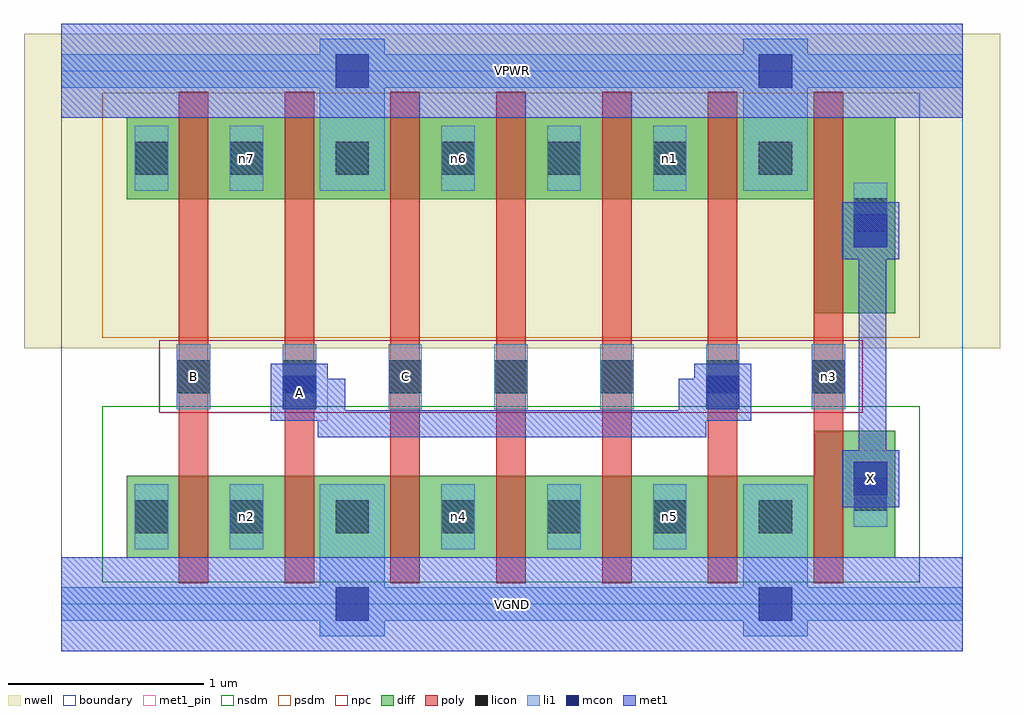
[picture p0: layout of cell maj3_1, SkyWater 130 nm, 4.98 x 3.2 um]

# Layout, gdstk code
import gdstk
lib = gdstk.Library(unit=1e-6, precision=1e-09)
def R(c, l, rs):  # rectangles x0, y0, x1, y1
    for r in rs: c.add(gdstk.rectangle(r[:2], r[2:], *l))
def A(c, l, x, y, w, h, nx, ny, dx, dy):  # array of equal rectangles
    R(c, l, [(x+i*dx, y+j*dy, x+i*dx+w, y+j*dy+h) for i in range(nx) for j in range(ny)])
nwell = (64, 20)
diff = (65, 20)
poly = (66, 20)
licon = (66, 44)
li1 = (67, 20)
mcon = (67, 44)
met1_pin = (68, 16)
met1 = (68, 20)
nsdm = (93, 44)
psdm = (94, 20)
npc = (95, 20)
boundary = (235, 4)

maj3_1 = lib.new_cell('maj3_1')
R(maj3_1, nwell, [(-0.19,1.305,4.79,2.91), (0,1.305,4.6,2.91)])
R(maj3_1, diff, [(0.335,0.235,3.915,0.655), (3.84,0.235,4.255,0.885), (3.84,1.485,4.255,2.485), (0.335,2.065,3.915,2.485)])
A(maj3_1, poly, 0.6, 0.105, 0.15, 2.51, 7, 1, 0.54, 0)
A(maj3_1, licon, 0.86, 0.36, 0.17, 0.17, 6, 2, 0.54, 1.83)
A(maj3_1, licon, 0.59, 1.075, 0.17, 0.17, 7, 1, 0.54, 0)
R(maj3_1, licon, [(0.375,0.36,0.545,0.53), (4.045,0.475,4.215,0.645), (4.045,1.9,4.215,2.07), (0.375,2.19,0.545,2.36)])
A(maj3_1, li1, 1.94, 0.28, 0.17, 0.33, 3, 2, 0.54, 1.83)
A(maj3_1, li1, 0.59, 0.995, 0.17, 0.33, 7, 1, 0.54, 0)
R(maj3_1, li1, [(1.32,-0.165,1.65,0.61), (3.48,-0.165,3.81,0.61), (0,-0.085,4.6,0.085), (0.375,0.28,0.545,0.61), (0.86,0.28,1.03,0.61), (4.045,0.395,4.215,0.725), (4.045,1.82,4.215,2.15), (0.375,2.11,0.545,2.44), (0.86,2.11,1.03,2.44), (1.32,2.11,1.65,2.885), (3.48,2.11,3.81,2.885), (0,2.635,4.6,2.805)])
R(maj3_1, mcon, [(1.4,-0.085,1.57,0.085), (3.56,-0.085,3.73,0.085), (4.045,0.555,4.215,0.725), (1.13,0.995,1.3,1.165), (3.29,0.995,3.46,1.165), (4.045,1.82,4.215,1.99), (1.4,2.635,1.57,2.805), (3.56,2.635,3.73,2.805)])
R(maj3_1, met1_pin, [(0,-0.24,4.6,0.24), (3.985,0.495,4.275,0.785), (1.07,0.935,1.36,1.225), (0,2.48,4.6,2.96)])
R(maj3_1, met1, [(0,-0.24,4.6,0.24), (3.985,0.495,4.275,0.785), (4.06,0.57,4.21,0.71), (4.07,0.57,4.21,0.875), (4.07,0.735,4.21,1.795), (1.31,0.85,1.45,1.15), (1.31,0.85,3.29,0.99), (3.15,0.85,3.29,1.15), (1.07,0.935,1.36,1.225), (3.23,0.935,3.52,1.225), (1.145,1.01,1.45,1.15), (3.15,1.01,3.445,1.15), (4.07,1.655,4.21,1.975), (3.985,1.76,4.275,2.05), (4.06,1.835,4.21,1.975), (0,2.48,4.6,2.96)])
R(maj3_1, nsdm, [(0.21,0.11,4.38,1.01)])
R(maj3_1, psdm, [(0.21,1.36,4.38,2.61)])
R(maj3_1, npc, [(0.5,0.975,4.09,1.345)])
R(maj3_1, boundary, [(0,0,4.6,2.72)])
maj3_1.add(gdstk.Label('B', (0.675,1.16), layer=67, texttype=5))
maj3_1.add(gdstk.Label('C', (1.755,1.16), layer=67, texttype=5))
maj3_1.add(gdstk.Label('n3', (3.915,1.16), layer=67, texttype=5))
maj3_1.add(gdstk.Label('n2', (0.945,0.445), layer=67, texttype=5))
maj3_1.add(gdstk.Label('n4', (2.025,0.445), layer=67, texttype=5))
maj3_1.add(gdstk.Label('n5', (3.105,0.445), layer=67, texttype=5))
maj3_1.add(gdstk.Label('n7', (0.945,2.275), layer=67, texttype=5))
maj3_1.add(gdstk.Label('n6', (2.025,2.275), layer=67, texttype=5))
maj3_1.add(gdstk.Label('n1', (3.105,2.275), layer=67, texttype=5))
maj3_1.add(gdstk.Label('A', (1.215,1.08), layer=68, texttype=5))
maj3_1.add(gdstk.Label('X', (4.13,0.64), layer=68, texttype=5))
maj3_1.add(gdstk.Label('VPWR', (2.3,2.72), layer=68, texttype=5))
maj3_1.add(gdstk.Label('VGND', (2.3,0), layer=68, texttype=5))
maj3_1.add(gdstk.Label('A', (1.215,1.08), layer=68, texttype=16))
maj3_1.add(gdstk.Label('X', (4.13,0.64), layer=68, texttype=16))
maj3_1.add(gdstk.Label('VPWR', (2.3,2.72), layer=68, texttype=16))
maj3_1.add(gdstk.Label('VGND', (2.3,0), layer=68, texttype=16))

lib.write_gds('maj3_1.gds')
